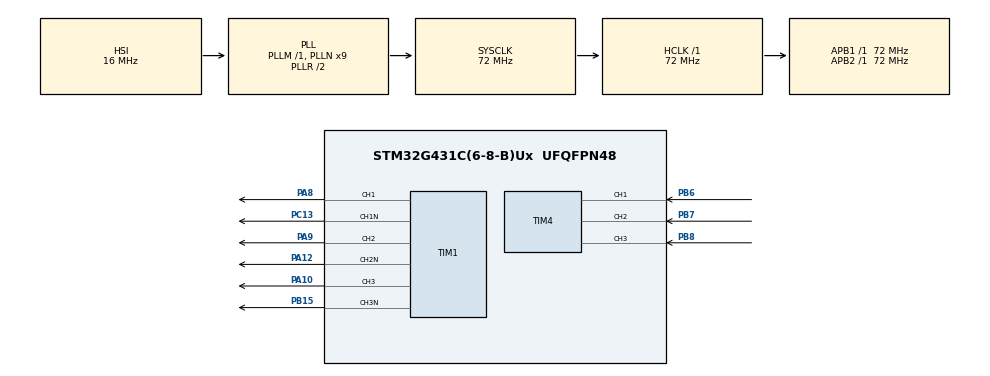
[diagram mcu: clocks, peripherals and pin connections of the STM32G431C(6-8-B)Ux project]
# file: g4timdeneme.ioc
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Mcu.Family=STM32G4
Mcu.Name=STM32G431C(6-8-B)Ux
Mcu.Package=UFQFPN48
NVIC.PriorityGroup=NVIC_PRIORITYGROUP_4
NVIC.TIM4_IRQn=true\:0\:0\:false\:false\:true\:true\:true\:true
PA10.Signal=S_TIM1_CH3
PA12.Mode=Output Compare2 CH2 CH2N
PA12.Signal=TIM1_CH2N
PA8.Signal=S_TIM1_CH1
PA9.Signal=S_TIM1_CH2
PB15.Mode=Output Compare3 CH3 CH3N
PB15.Signal=TIM1_CH3N
PB6.Signal=S_TIM4_CH1
PB7.Signal=S_TIM4_CH2
PB8-BOOT0.Signal=S_TIM4_CH3
PC13.Mode=Output Compare1 CH1 CH1N
PC13.Signal=TIM1_CH1N
ProjectManager.HeapSize=0x200
ProjectManager.StackSize=0x400
ProjectManager.TargetToolchain=STM32CubeIDE
RCC.ADC12Freq_Value=72000000
RCC.AHBFreq_Value=72000000
RCC.APB1Freq_Value=72000000
RCC.APB1TimFreq_Value=72000000
RCC.APB2Freq_Value=72000000
RCC.APB2TimFreq_Value=72000000
RCC.CortexFreq_Value=72000000
RCC.EXTERNAL_CLOCK_VALUE=12288000
RCC.HCLKFreq_Value=72000000
RCC.HSE_VALUE=8000000
RCC.HSI48_VALUE=48000000
RCC.HSI_VALUE=16000000
RCC.LSE_VALUE=32768
RCC.PLLN=9
RCC.SYSCLKFreq_VALUE=72000000
RCC.SYSCLKSource=RCC_SYSCLKSOURCE_PLLCLK
RCC.USBFreq_Value=72000000
RCC.VCOOutputFreq_Value=144000000
SH.S_TIM1_CH1.0=TIM1_CH1,Output Compare1 CH1 CH1N
SH.S_TIM1_CH2.0=TIM1_CH2,Output Compare2 CH2 CH2N
SH.S_TIM1_CH3.0=TIM1_CH3,Output Compare3 CH3 CH3N
SH.S_TIM4_CH1.0=TIM4_CH1,Xored_Inputs_Hall_Sensor_Interface
SH.S_TIM4_CH2.0=TIM4_CH2,Xored_Inputs_Hall_Sensor_Interface
SH.S_TIM4_CH3.0=TIM4_CH3,Xored_Inputs_Hall_Sensor_Interface
TIM1.Channel-Output\ Compare1\ CH1\ CH1N=TIM_CHANNEL_1
TIM1.Channel-Output\ Compare2\ CH2\ CH2N=TIM_CHANNEL_2
TIM1.Channel-Output\ Compare3\ CH3\ CH3N=TIM_CHANNEL_3
VP_SYS_VS_DBSignals.Mode=DisableDeadBatterySignals
VP_TIM1_VS_ClockSourceINT.Mode=Internal
board=custom

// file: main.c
/* USER CODE BEGIN Header */
/**
  ******************************************************************************
  * @file           : main.c
  * @brief          : Main program body
  ******************************************************************************
  * @attention
  *
  * Copyright (c) 2023 STMicroelectronics.
  * All rights reserved.
  *
  * This software is licensed under terms that can be found in the LICENSE file
  * in the root directory of this software component.
  * If no LICENSE file comes with this software, it is provided AS-IS.
  *
  ******************************************************************************
  */
/* USER CODE END Header */
#include "main.h"

/* USER CODE BEGIN PTD */
void step(int s);
void crr(void);
/* USER CODE END PTD */

/* USER CODE BEGIN PM */

#define t 4500
#define tt 2500
int h1,h2,h3;

void TIM_CCxxNChannelCmd(TIM_TypeDef *TIMx, uint32_t Channel, uint32_t ChannelNState)
{
  uint32_t tmp;

  tmp = TIM_CCER_CC1NE << (Channel & 0x1FU); /* 0x1FU = 31 bits max shift */

  /* Reset the CCxNE Bit */
  TIMx->CCER &=  ~tmp;

  /* Set or reset the CCxNE Bit */
  TIMx->CCER |= (uint32_t)(ChannelNState << (Channel & 0x1FU)); /* 0x1FU = 31 bits max shift */
}
/* USER CODE END PM */

TIM_HandleTypeDef htim1;
TIM_HandleTypeDef htim4;

/* USER CODE BEGIN PV */
TIM_HandleTypeDef htim6;
/* USER CODE END PV */

void SystemClock_Config(void);
static void MX_GPIO_Init(void);
static void MX_TIM1_Init(void);
static void MX_TIM4_Init(void);
/* USER CODE BEGIN PFP */
static void MX_TIM6_Init(void);
/* USER CODE END PFP */

int main(void)
{

  /* MCU Configuration--------------------------------------------------------*/

  /* Reset of all peripherals, Initializes the Flash interface and the Systick. */
  HAL_Init();

  /* Configure the system clock */
  SystemClock_Config();

  /* Initialize all configured peripherals */
  MX_GPIO_Init();
  MX_TIM1_Init();
  MX_TIM4_Init();
  /* USER CODE BEGIN 2 */

  //MX_TIM6_Init();
 // HAL_TIM_Base_Start_IT(&htim6);
  HAL_TIM_PWM_Start(&htim1, TIM_CHANNEL_1);
  HAL_TIMEx_PWMN_Start(&htim1, TIM_CHANNEL_1);
  HAL_TIM_PWM_Start(&htim1, TIM_CHANNEL_2);
  HAL_TIMEx_PWMN_Start(&htim1, TIM_CHANNEL_2);
  HAL_TIM_PWM_Start(&htim1, TIM_CHANNEL_3);
  HAL_TIMEx_PWMN_Start(&htim1, TIM_CHANNEL_3);
  /* USER CODE END 2 */

  /* Infinite loop */
  /* USER CODE BEGIN WHILE */
  while (1)
  {

			  for(int i=0;i<=6;i++){
				  step(i);
				  HAL_Delay(2);
				  crr();
			  }

    /* USER CODE END WHILE */

  }
}

void SystemClock_Config(void)
{
  RCC_OscInitTypeDef RCC_OscInitStruct = {0};
  RCC_ClkInitTypeDef RCC_ClkInitStruct = {0};

  /** Configure the main internal regulator output voltage
  */
  HAL_PWREx_ControlVoltageScaling(PWR_REGULATOR_VOLTAGE_SCALE1);

  /** Initializes the RCC Oscillators according to the specified parameters
  * in the RCC_OscInitTypeDef structure.
  */
  RCC_OscInitStruct.OscillatorType = RCC_OSCILLATORTYPE_HSI;
  RCC_OscInitStruct.HSIState = RCC_HSI_ON;
  RCC_OscInitStruct.HSICalibrationValue = RCC_HSICALIBRATION_DEFAULT;
  RCC_OscInitStruct.PLL.PLLState = RCC_PLL_ON;
  RCC_OscInitStruct.PLL.PLLSource = RCC_PLLSOURCE_HSI;
  RCC_OscInitStruct.PLL.PLLM = RCC_PLLM_DIV1;
  RCC_OscInitStruct.PLL.PLLN = 9;
  RCC_OscInitStruct.PLL.PLLP = RCC_PLLP_DIV2;
  RCC_OscInitStruct.PLL.PLLQ = RCC_PLLQ_DIV2;
  RCC_OscInitStruct.PLL.PLLR = RCC_PLLR_DIV2;
  if (HAL_RCC_OscConfig(&RCC_OscInitStruct) != HAL_OK)
  {
    Error_Handler();
  }

  /** Initializes the CPU, AHB and APB buses clocks
  */
  RCC_ClkInitStruct.ClockType = RCC_CLOCKTYPE_HCLK|RCC_CLOCKTYPE_SYSCLK
                              |RCC_CLOCKTYPE_PCLK1|RCC_CLOCKTYPE_PCLK2;
  RCC_ClkInitStruct.SYSCLKSource = RCC_SYSCLKSOURCE_PLLCLK;
  RCC_ClkInitStruct.AHBCLKDivider = RCC_SYSCLK_DIV1;
  RCC_ClkInitStruct.APB1CLKDivider = RCC_HCLK_DIV1;
  RCC_ClkInitStruct.APB2CLKDivider = RCC_HCLK_DIV1;

  if (HAL_RCC_ClockConfig(&RCC_ClkInitStruct, FLASH_LATENCY_2) != HAL_OK)
  {
    Error_Handler();
  }
}

static void MX_TIM1_Init(void)
{

  TIM_ClockConfigTypeDef sClockSourceConfig = {0};
  TIM_MasterConfigTypeDef sMasterConfig = {0};
  TIM_OC_InitTypeDef sConfigOC = {0};
  TIM_BreakDeadTimeConfigTypeDef sBreakDeadTimeConfig = {0};

  htim1.Instance = TIM1;
  htim1.Init.Prescaler = 0;
  htim1.Init.CounterMode = TIM_COUNTERMODE_UP;
  htim1.Init.Period = t-1;
  htim1.Init.ClockDivision = TIM_CLOCKDIVISION_DIV1;
  htim1.Init.RepetitionCounter = 0;
  htim1.Init.AutoReloadPreload = TIM_AUTORELOAD_PRELOAD_DISABLE;
  if (HAL_TIM_Base_Init(&htim1) != HAL_OK)
  {
    Error_Handler();
  }
  sClockSourceConfig.ClockSource = TIM_CLOCKSOURCE_INTERNAL;
  if (HAL_TIM_ConfigClockSource(&htim1, &sClockSourceConfig) != HAL_OK)
  {
    Error_Handler();
  }
  if (HAL_TIM_OC_Init(&htim1) != HAL_OK)
  {
    Error_Handler();
  }
  sMasterConfig.MasterOutputTrigger = TIM_TRGO_RESET;
  sMasterConfig.MasterOutputTrigger2 = TIM_TRGO2_RESET;
  sMasterConfig.MasterSlaveMode = TIM_MASTERSLAVEMODE_DISABLE;
  if (HAL_TIMEx_MasterConfigSynchronization(&htim1, &sMasterConfig) != HAL_OK)
  {
    Error_Handler();
  }
  sConfigOC.OCMode = TIM_OCMODE_PWM1;
  sConfigOC.Pulse = 1500;
  sConfigOC.OCPolarity = TIM_OCPOLARITY_HIGH;
  sConfigOC.OCNPolarity = TIM_OCNPOLARITY_HIGH;
  sConfigOC.OCFastMode = TIM_OCFAST_DISABLE;
  sConfigOC.OCIdleState = TIM_OCIDLESTATE_RESET;
  sConfigOC.OCNIdleState = TIM_OCNIDLESTATE_RESET;
  if (HAL_TIM_OC_ConfigChannel(&htim1, &sConfigOC, TIM_CHANNEL_1) != HAL_OK)
  {
    Error_Handler();
  }
  if (HAL_TIM_OC_ConfigChannel(&htim1, &sConfigOC, TIM_CHANNEL_2) != HAL_OK)
  {
    Error_Handler();
  }
  if (HAL_TIM_OC_ConfigChannel(&htim1, &sConfigOC, TIM_CHANNEL_3) != HAL_OK)
  {
    Error_Handler();
  }
  sBreakDeadTimeConfig.OffStateRunMode = TIM_OSSR_DISABLE;
  sBreakDeadTimeConfig.OffStateIDLEMode = TIM_OSSI_DISABLE;
  sBreakDeadTimeConfig.LockLevel = TIM_LOCKLEVEL_OFF;
  sBreakDeadTimeConfig.DeadTime = 1;
  sBreakDeadTimeConfig.BreakState = TIM_BREAK_DISABLE;
  sBreakDeadTimeConfig.BreakPolarity = TIM_BREAKPOLARITY_HIGH;
  sBreakDeadTimeConfig.BreakFilter = 0;
  sBreakDeadTimeConfig.BreakAFMode = TIM_BREAK_AFMODE_INPUT;
  sBreakDeadTimeConfig.Break2State = TIM_BREAK2_DISABLE;
  sBreakDeadTimeConfig.Break2Polarity = TIM_BREAK2POLARITY_HIGH;
  sBreakDeadTimeConfig.Break2Filter = 0;
  sBreakDeadTimeConfig.Break2AFMode = TIM_BREAK_AFMODE_INPUT;
  sBreakDeadTimeConfig.AutomaticOutput = TIM_AUTOMATICOUTPUT_DISABLE;
  if (HAL_TIMEx_ConfigBreakDeadTime(&htim1, &sBreakDeadTimeConfig) != HAL_OK)
  {
    Error_Handler();
  }
  HAL_TIM_MspPostInit(&htim1);

}

static void MX_TIM4_Init(void)
{

  TIM_HallSensor_InitTypeDef sConfig = {0};
  TIM_MasterConfigTypeDef sMasterConfig = {0};

  htim4.Instance = TIM4;
  htim4.Init.Prescaler = 0;
  htim4.Init.CounterMode = TIM_COUNTERMODE_UP;
  htim4.Init.Period = 65535;
  htim4.Init.ClockDivision = TIM_CLOCKDIVISION_DIV1;
  htim4.Init.AutoReloadPreload = TIM_AUTORELOAD_PRELOAD_DISABLE;
  sConfig.IC1Polarity = TIM_ICPOLARITY_RISING;
  sConfig.IC1Prescaler = TIM_ICPSC_DIV1;
  sConfig.IC1Filter = 0;
  sConfig.Commutation_Delay = 0;
  if (HAL_TIMEx_HallSensor_Init(&htim4, &sConfig) != HAL_OK)
  {
    Error_Handler();
  }
  sMasterConfig.MasterOutputTrigger = TIM_TRGO_OC2REF;
  sMasterConfig.MasterSlaveMode = TIM_MASTERSLAVEMODE_DISABLE;
  if (HAL_TIMEx_MasterConfigSynchronization(&htim4, &sMasterConfig) != HAL_OK)
  {
    Error_Handler();
  }

}

static void MX_GPIO_Init(void)
{

  /* GPIO Ports Clock Enable */
  __HAL_RCC_GPIOC_CLK_ENABLE();
  __HAL_RCC_GPIOB_CLK_ENABLE();
  __HAL_RCC_GPIOA_CLK_ENABLE();

}

/* USER CODE BEGIN 4 */

void step(int s){

	TIM_OC_InitTypeDef sConfigOC = {0};
	switch(s){
	case 5:
	TIM_CCxChannelCmd(TIM1, TIM_CHANNEL_1, TIM_CCx_DISABLE);
	TIM_CCxxNChannelCmd(TIM1,TIM_CHANNEL_1, TIM_CCxN_DISABLE);

	//sConfigOC.OCMode = TIM_OCMODE_PWM1;
	//HAL_TIM_OC_ConfigChannel(&htim1, &sConfigOC, TIM_CHANNEL_2);
	TIM_CCxChannelCmd(TIM1, TIM_CHANNEL_2, TIM_CCx_ENABLE);
	TIM_CCxxNChannelCmd(TIM1,TIM_CHANNEL_2, TIM_CCxN_DISABLE);

	//sConfigOC.OCMode = TIM_OCMODE_ACTIVE;
	//	HAL_TIM_OC_ConfigChannel(&htim1, &sConfigOC, TIM_CHANNEL_3);
	TIM_CCxChannelCmd(TIM1, TIM_CHANNEL_3, TIM_CCx_DISABLE);
	TIM_CCxxNChannelCmd(TIM1, TIM_CHANNEL_3, TIM_CCxN_ENABLE);

	break;

	case 4:
		TIM_CCxChannelCmd(TIM1, TIM_CHANNEL_3, TIM_CCx_DISABLE);
		TIM_CCxxNChannelCmd(TIM1,TIM_CHANNEL_3, TIM_CCxN_DISABLE);

		//sConfigOC.OCMode = TIM_OCMODE_ACTIVE;
		//HAL_TIM_OC_ConfigChannel(&htim1, &sConfigOC, TIM_CHANNEL_1);
		TIM_CCxChannelCmd(TIM1, TIM_CHANNEL_1, TIM_CCx_DISABLE);
		TIM_CCxxNChannelCmd(TIM1, TIM_CHANNEL_1, TIM_CCxN_ENABLE);

		//sConfigOC.OCMode = TIM_OCMODE_PWM1;
			//HAL_TIM_OC_ConfigChannel(&htim1, &sConfigOC, TIM_CHANNEL_2);
			TIM_CCxChannelCmd(TIM1, TIM_CHANNEL_2, TIM_CCx_ENABLE);
			TIM_CCxxNChannelCmd(TIM1,TIM_CHANNEL_2, TIM_CCxN_DISABLE);
			break;

	case 3:
		TIM_CCxChannelCmd(TIM1, TIM_CHANNEL_2, TIM_CCx_DISABLE);
				TIM_CCxxNChannelCmd(TIM1,TIM_CHANNEL_2, TIM_CCxN_DISABLE);

				//sConfigOC.OCMode = TIM_OCMODE_ACTIVE;
				//	HAL_TIM_OC_ConfigChannel(&htim1, &sConfigOC, TIM_CHANNEL_1);
				TIM_CCxChannelCmd(TIM1, TIM_CHANNEL_1, TIM_CCx_DISABLE);
				TIM_CCxxNChannelCmd(TIM1, TIM_CHANNEL_1, TIM_CCxN_ENABLE);

				//sConfigOC.OCMode = TIM_OCMODE_PWM1;
				//	HAL_TIM_OC_ConfigChannel(&htim1, &sConfigOC, TIM_CHANNEL_3);
				TIM_CCxChannelCmd(TIM1, TIM_CHANNEL_3, TIM_CCx_ENABLE);
				TIM_CCxxNChannelCmd(TIM1,TIM_CHANNEL_3, TIM_CCxN_DISABLE);
				break;

	case 2:
		TIM_CCxChannelCmd(TIM1, TIM_CHANNEL_1, TIM_CCx_DISABLE);
			TIM_CCxxNChannelCmd(TIM1,TIM_CHANNEL_1, TIM_CCxN_DISABLE);

			//sConfigOC.OCMode = TIM_OCMODE_ACTIVE;
			//	HAL_TIM_OC_ConfigChannel(&htim1, &sConfigOC, TIM_CHANNEL_2);
			TIM_CCxChannelCmd(TIM1, TIM_CHANNEL_2, TIM_CCx_DISABLE);
			TIM_CCxxNChannelCmd(TIM1, TIM_CHANNEL_2, TIM_CCxN_ENABLE);

			//sConfigOC.OCMode = TIM_OCMODE_PWM1;
			//	HAL_TIM_OC_ConfigChannel(&htim1, &sConfigOC, TIM_CHANNEL_3);
			TIM_CCxChannelCmd(TIM1, TIM_CHANNEL_3, TIM_CCx_ENABLE);
			TIM_CCxxNChannelCmd(TIM1,TIM_CHANNEL_3, TIM_CCxN_DISABLE);
			break;

	case 1:
		TIM_CCxChannelCmd(TIM1, TIM_CHANNEL_3, TIM_CCx_DISABLE);
				TIM_CCxxNChannelCmd(TIM1,TIM_CHANNEL_3, TIM_CCxN_DISABLE);

				//sConfigOC.OCMode = TIM_OCMODE_PWM1;
				//	HAL_TIM_OC_ConfigChannel(&htim1, &sConfigOC, TIM_CHANNEL_1);
				TIM_CCxChannelCmd(TIM1, TIM_CHANNEL_1, TIM_CCx_ENABLE);
				TIM_CCxxNChannelCmd(TIM1,TIM_CHANNEL_1, TIM_CCxN_DISABLE);

				//sConfigOC.OCMode = TIM_OCMODE_ACTIVE;
				//	HAL_TIM_OC_ConfigChannel(&htim1, &sConfigOC, TIM_CHANNEL_2);
				TIM_CCxChannelCmd(TIM1, TIM_CHANNEL_2, TIM_CCx_DISABLE);
				TIM_CCxxNChannelCmd(TIM1, TIM_CHANNEL_2, TIM_CCxN_ENABLE);
				break;

	case 6:
		TIM_CCxChannelCmd(TIM1, TIM_CHANNEL_2, TIM_CCx_DISABLE);
						TIM_CCxxNChannelCmd(TIM1,TIM_CHANNEL_2, TIM_CCxN_DISABLE);

						//sConfigOC.OCMode = TIM_OCMODE_PWM1;
						//	HAL_TIM_OC_ConfigChannel(&htim1, &sConfigOC, TIM_CHANNEL_1);

						TIM_CCxChannelCmd(TIM1, TIM_CHANNEL_1, TIM_CCx_ENABLE);
						TIM_CCxxNChannelCmd(TIM1,TIM_CHANNEL_1, TIM_CCxN_DISABLE);

						//sConfigOC.OCMode = TIM_OCMODE_ACTIVE;
						//	HAL_TIM_OC_ConfigChannel(&htim1, &sConfigOC, TIM_CHANNEL_3);
						TIM_CCxChannelCmd(TIM1, TIM_CHANNEL_3, TIM_CCx_DISABLE);
						TIM_CCxxNChannelCmd(TIM1, TIM_CHANNEL_3, TIM_CCxN_ENABLE);
						break;

	default:
		TIM_CCxChannelCmd(TIM1, TIM_CHANNEL_1, TIM_CCx_DISABLE);
		TIM_CCxChannelCmd(TIM1, TIM_CHANNEL_2, TIM_CCx_DISABLE);
		TIM_CCxChannelCmd(TIM1, TIM_CHANNEL_2, TIM_CCx_DISABLE);
		TIM_CCxxNChannelCmd(TIM1,TIM_CHANNEL_1, TIM_CCxN_DISABLE);
		TIM_CCxxNChannelCmd(TIM1,TIM_CHANNEL_2, TIM_CCxN_DISABLE);
		TIM_CCxxNChannelCmd(TIM1,TIM_CHANNEL_3, TIM_CCxN_DISABLE);

		break;
	}

}
void crr(void){
	__HAL_TIM_SET_COMPARE(&htim1,TIM_CHANNEL_1,tt);
	__HAL_TIM_SET_COMPARE(&htim1,TIM_CHANNEL_2,tt);
	__HAL_TIM_SET_COMPARE(&htim1,TIM_CHANNEL_3,tt);
}
static void MX_TIM6_Init(void)
{

  /* USER CODE BEGIN TIM6_Init 0 */

  /* USER CODE END TIM6_Init 0 */

  TIM_MasterConfigTypeDef sMasterConfig = {0};

  /* USER CODE BEGIN TIM6_Init 1 */

  /* USER CODE END TIM6_Init 1 */
  htim6.Instance = TIM6;
  htim6.Init.Prescaler = 2-1;
  htim6.Init.CounterMode = TIM_COUNTERMODE_UP;
  htim6.Init.Period = 14399;
  htim6.Init.AutoReloadPreload = TIM_AUTORELOAD_PRELOAD_DISABLE;
  if (HAL_TIM_Base_Init(&htim6) != HAL_OK)
  {
    Error_Handler();
  }
  sMasterConfig.MasterOutputTrigger = TIM_TRGO_RESET;
  sMasterConfig.MasterSlaveMode = TIM_MASTERSLAVEMODE_DISABLE;
  if (HAL_TIMEx_MasterConfigSynchronization(&htim6, &sMasterConfig) != HAL_OK)
  {
    Error_Handler();
  }
  /* USER CODE BEGIN TIM6_Init 2 */

  /* USER CODE END TIM6_Init 2 */

}

void TIM6_DAC_IRQHandler(void)
{
  /* USER CODE BEGIN TIM6_DAC_IRQn 0 */
	for(int i=0;i<=6;i++){
		 step(i);
			  //HAL_Delay(1);
		  }

  /* USER CODE END TIM6_DAC_IRQn 0 */
  HAL_TIM_IRQHandler(&htim6);
  /* USER CODE BEGIN TIM6_DAC_IRQn 1 */

  /* USER CODE END TIM6_DAC_IRQn 1 */
}
/* USER CODE END 4 */

void Error_Handler(void)
{
  __disable_irq();
  while (1)
  {
  }
}
